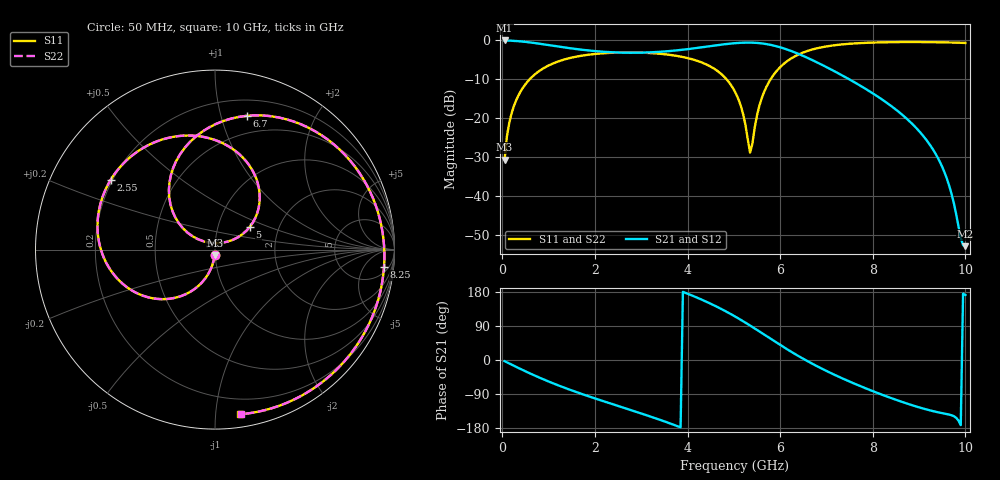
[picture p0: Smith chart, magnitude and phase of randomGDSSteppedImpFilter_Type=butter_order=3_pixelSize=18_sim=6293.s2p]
! freq	dB(S11)	phase(S11)	dB(S12)	phase(S12)
!  dB(S21)	phase(S21)	dB(S22)	phase(S22)
!S-par simulation data
#  GHz  S  DB  R 50
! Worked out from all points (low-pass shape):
!   200 points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, 50 MHz to 10 GHz, reference 50 ohm
!   highest |S21| = -0.01 dB at 50 MHz (marker M1); lowest = -53.0 dB at 10 GHz (marker M2)
!   |S21| within 3 dB of the highest: start of sweep to 2.306 GHz; 3.296 GHz to 6.3 GHz (3.004 GHz wide, 62.6 % of centre)
!   lowest |S11| = -30.7 dB at 50 MHz (marker M3), VSWR 1.06, Z = 49.7 - j2.92 ohm
!   |S11| at or under -10 dB: start of sweep to 591.7 MHz; 4.842 GHz to 5.794 GHz (952.3 MHz wide, 17.9 % of centre)
!   |S22| runs from -30.7 to -0.4 dB; largest |S21 - S12| = 0
!   S11 on the Smith chart (normalised r, x): 50 MHz: 0.99, -0.06; 2.55 GHz: 0.19, +0.29; 5 GHz: 1.42, +0.38; 6.7 GHz: 0.34, +1.21; 8.25 GHz: 8, -15; 10 GHz: 0.09, -1.16
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0.05  -30.65 -93.3  -0.01 -3.1  -0.01 -3.1  -30.65 -93.3
0.2  -18.79 -102.7  -0.08 -12.2  -0.08 -12.2  -18.79 -102.7
0.5  -11.28 -120.4  -0.38 -29.9  -0.38 -29.9  -11.28 -120.4
1.05  -6.17 -149.8  -1.28 -59.2  -1.28 -59.2  -6.17 -149.8
1.75  -3.86 178.4  -2.44 -91.0  -2.44 -91.0  -3.86 178.4
2.55  -3.11 146.3  -3.13 -123.2  -3.13 -123.2  -3.11 146.3
3.4  -3.43 112.2  -2.93 -157.7  -2.93 -157.7  -3.43 112.2
4.35  -5.88 68.1  -1.70 156.9  -1.70 156.9  -5.88 68.1
5  -12.67 33.2  -0.73 116.7  -0.73 116.7  -12.66 33.2
5.05  -13.81 31.0  -0.68 113.2  -0.68 113.2  -13.81 31.0
5.2  -18.94 28.7  -0.58 102.4  -0.58 102.4  -18.94 28.7
5.35  -28.87 80.8  -0.56 91.0  -0.56 91.0  -28.86 80.8
5.55  -16.87 149.3  -0.70 75.4  -0.70 75.4  -16.88 149.4
5.8  -9.88 137.7  -1.16 55.5  -1.16 55.5  -9.88 137.8
6.2  -4.94 110.0  -2.56 24.6  -2.56 24.6  -4.94 110.1
6.7  -2.31 76.6  -5.10 -10.2  -5.10 -10.2  -2.31 76.7
7.5  -0.86 30.9  -10.06 -57.0  -10.06 -57.0  -0.86 31.0
8.25  -0.48 -5.8  -15.61 -93.9  -15.61 -93.9  -0.48 -5.7
8.35  -0.46 -10.4  -16.46 -98.4  -16.46 -98.4  -0.46 -10.2
9.4  -0.47 -55.8  -30.12 -137.7  -30.12 -137.7  -0.47 -55.6
9.65  -0.52 -66.4  -37.38 -144.1  -37.38 -144.1  -0.52 -66.0
10  -0.65 -81.5  -52.96 171.4  -52.96 171.4  -0.65 -81.1
